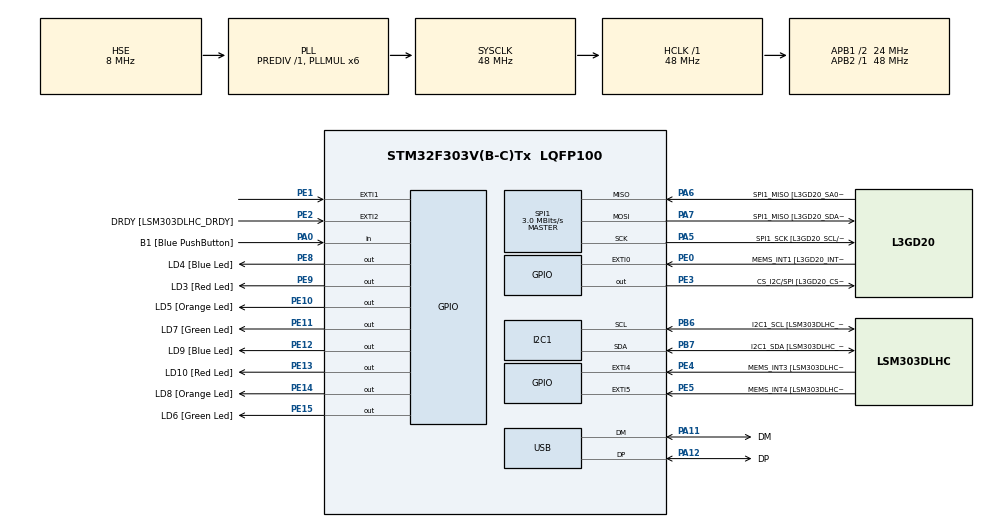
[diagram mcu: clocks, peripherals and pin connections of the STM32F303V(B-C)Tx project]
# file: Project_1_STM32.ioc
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I2C1.OwnAddress=0x20
I2C1.Timing-I2C=0x2000090E
Mcu.Family=STM32F3
Mcu.Name=STM32F303V(B-C)Tx
Mcu.Package=LQFP100
NVIC.I2C1_EV_IRQn=true\:0\:0\:false\:false\:true\:true\:true\:true
NVIC.PriorityGroup=NVIC_PRIORITYGROUP_0
NVIC.TIM1_BRK_TIM15_IRQn=true\:0\:0\:false\:false\:true\:true\:true\:true
NVIC.TIM1_CC_IRQn=true\:0\:0\:false\:false\:true\:true\:true\:true
NVIC.TIM1_TRG_COM_TIM17_IRQn=true\:0\:0\:false\:false\:true\:true\:true\:true
NVIC.TIM1_UP_TIM16_IRQn=true\:0\:0\:false\:false\:true\:true\:true\:true
PA0.GPIO_Label=B1 [Blue PushButton]
PA0.Signal=GPIO_Input
PA11.GPIO_Label=DM
PA11.Mode=Device
PA11.Signal=USB_DM
PA12.GPIO_Label=DP
PA12.Mode=Device
PA12.Signal=USB_DP
PA13.GPIO_Label=SWDIO
PA13.Mode=Serial_Wire
PA13.Signal=SYS_JTMS-SWDIO
PA14.GPIO_Label=SWCLK
PA14.Mode=Serial_Wire
PA14.Signal=SYS_JTCK-SWCLK
PA5.GPIO_Label=SPI1_SCK [L3GD20_SCL/SPC]
PA5.Mode=Full_Duplex_Master
PA5.Signal=SPI1_SCK
PA6.GPIO_Label=SPI1_MISO [L3GD20_SA0/SDO]
PA6.Mode=Full_Duplex_Master
PA6.Signal=SPI1_MISO
PA7.GPIO_Label=SPI1_MISO [L3GD20_SDA/SDI/SDO]
PA7.Mode=Full_Duplex_Master
PA7.Signal=SPI1_MOSI
PB3.GPIO_Label=SWO
PB3.Signal=SYS_JTDO-TRACESWO
PB6.GPIO_Label=I2C1_SCL [LSM303DLHC_SCL]
PB6.GPIO_Pu=GPIO_NOPULL
PB6.Mode=I2C
PB6.Signal=I2C1_SCL
PB7.GPIO_Label=I2C1_SDA [LSM303DLHC_SDA]
PB7.GPIO_Pu=GPIO_PULLUP
PB7.Mode=I2C
PB7.Signal=I2C1_SDA
PC14-OSC32_IN.GPIO_Label=OSC32_IN
PC14-OSC32_IN.Signal=RCC_OSC32_IN
PC15-OSC32_OUT.GPIO_Label=OSC32_OUT
PC15-OSC32_OUT.Signal=RCC_OSC32_OUT
PE0.GPIO_Label=MEMS_INT1 [L3GD20_INT1]
PE0.GPIO_ModeDefaultEXTI=GPIO_MODE_EVT_RISING
PE0.Signal=GPXTI0
PE1.Signal=GPXTI1
PE10.GPIO_Label=LD5 [Orange Led]
PE10.Signal=GPIO_Output
PE11.GPIO_Label=LD7 [Green Led]
PE11.Signal=GPIO_Output
PE12.GPIO_Label=LD9 [Blue Led]
PE12.Signal=GPIO_Output
PE13.GPIO_Label=LD10 [Red Led]
PE13.Signal=GPIO_Output
PE14.GPIO_Label=LD8 [Orange Led]
PE14.Signal=GPIO_Output
PE15.GPIO_Label=LD6 [Green Led]
PE15.Signal=GPIO_Output
PE2.GPIO_Label=DRDY [LSM303DLHC_DRDY]
PE2.GPIO_ModeDefaultEXTI=GPIO_MODE_EVT_RISING
PE2.Signal=GPXTI2
PE3.GPIO_Label=CS_I2C/SPI [L3GD20_CS_I2C/SPI]
PE3.Signal=GPIO_Output
PE4.GPIO_Label=MEMS_INT3 [LSM303DLHC_INT1]
PE4.GPIO_ModeDefaultEXTI=GPIO_MODE_EVT_RISING
PE4.Signal=GPXTI4
PE5.GPIO_Label=MEMS_INT4 [LSM303DLHC_INT2]
PE5.GPIO_ModeDefaultEXTI=GPIO_MODE_EVT_RISING
PE5.Signal=GPXTI5
PE8.GPIO_Label=LD4 [Blue Led]
PE8.Signal=GPIO_Output
PE9.GPIO_Label=LD3 [Red Led]
PE9.Signal=GPIO_Output
PF0-OSC_IN.GPIO_Label=OSC_IN
PF0-OSC_IN.Mode=HSE-External-Clock-Source
PF0-OSC_IN.Signal=RCC_OSC_IN
PF1-OSC_OUT.GPIO_Label=OSC_OUT
PF1-OSC_OUT.Signal=RCC_OSC_OUT
ProjectManager.HeapSize=0x200
ProjectManager.StackSize=0x400
ProjectManager.TargetToolchain=STM32CubeIDE
RCC.AHBFreq_Value=48000000
RCC.APB1CLKDivider=RCC_HCLK_DIV2
RCC.APB1Freq_Value=24000000
RCC.APB1TimFreq_Value=48000000
RCC.APB2Freq_Value=48000000
RCC.APB2TimFreq_Value=48000000
RCC.CortexFreq_Value=48000000
RCC.HCLKFreq_Value=48000000
RCC.HSE_VALUE=8000000
RCC.HSI_VALUE=8000000
RCC.LSE_VALUE=32768
RCC.PLLMUL=RCC_PLL_MUL6
RCC.SYSCLKFreq_VALUE=48000000
RCC.SYSCLKSourceVirtual=RCC_SYSCLKSOURCE_PLLCLK
RCC.USBFreq_Value=48000000
SPI1.BaudRatePrescaler=SPI_BAUDRATEPRESCALER_16
SPI1.BaudRatePrescaler-Full_Duplex_Master=SPI_BAUDRATEPRESCALER_2
SPI1.CalculateBaudRate=3.0 MBits/s
SPI1.CalculateBaudRate-Full_Duplex_Master=24.0 MBits/s
SPI1.DataSize=SPI_DATASIZE_8BIT
SPI1.Direction=SPI_DIRECTION_2LINES
SPI1.Mode=SPI_MODE_MASTER
SPI1.Mode-Full_Duplex_Master=SPI_MODE_MASTER
SPI1.VirtualType=VM_MASTER
TIM1.Period=1
TIM1.Prescaler=48000
VP_TIM1_VS_ClockSourceINT.Mode=Internal
board=STM32F3DISCOVERY

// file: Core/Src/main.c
/* USER CODE BEGIN Header */
/**
  ******************************************************************************
  * @file           : main.c
  * @brief          : Main program body
  ******************************************************************************
  * @attention
  *
  * Copyright (c) 2023 STMicroelectronics.
  * All rights reserved.
  *
  * This software is licensed under terms that can be found in the LICENSE file
  * in the root directory of this software component.
  * If no LICENSE file comes with this software, it is provided AS-IS.
  *
  ******************************************************************************
  */
/* USER CODE END Header */
#include "main.h"
#include "i2c.h"
#include "spi.h"
#include "tim.h"
#include "usb.h"
#include "gpio.h"

/* USER CODE BEGIN Includes */

/*
 * Note to self:
 *  added the lib files I created for the SPI
 *  need to add custom functions to spi.c (and spi.h)
 */

//#include "usbd_cdc_if.h"
#include "l3gd20.h"
/* USER CODE END Includes */

/* USER CODE BEGIN PTD */

/* I2C variables */
__IO uint32_t     Xfer_Direction = 0;
__IO uint32_t     Xfer_Complete = 0;
// Buffer used for transmission
uint8_t aTxBuffer[4];
// Buffer used for reception
uint8_t aRxBuffer[2];

/* Gyroscope variables */
uint8_t _newData = 0x00;
uint8_t spi_Buffer[6];
// ID of L3GD20
uint8_t ui8gyroID;
// test buffer
uint8_t testBuf[1];

/* USER CODE END PTD */

/* USER CODE BEGIN PD */

#define COUNTOF(__BUFFER__)   (sizeof(__BUFFER__) / sizeof(*(__BUFFER__)))
/* Size of Transmission buffer */
#define TXBUFFERSIZE                      (COUNTOF(aTxBuffer))
/* Size of Reception buffer */
#define RXBUFFERSIZE                      TXBUFFERSIZE

/* USER CODE END PD */

void SystemClock_Config(void);
/* USER CODE BEGIN PFP */
void set_led(uint8_t counter);
/* USER CODE END PFP */

int main(void)
{

  /* MCU Configuration--------------------------------------------------------*/

  /* Reset of all peripherals, Initializes the Flash interface and the Systick. */
  HAL_Init();

  /* USER CODE BEGIN Init */

  //The following code initialises the receive and transmit buffers being used.
  aRxBuffer[0]=0x00;
  aRxBuffer[1]=0x00;
  aRxBuffer[2]=0x00;
  aRxBuffer[3]=0x00;

  aTxBuffer[0]=0x00;
  aTxBuffer[1]=0x00;

  /* USER CODE END Init */

  /* Configure the system clock */
  SystemClock_Config();

  /* Initialize all configured peripherals */
  MX_GPIO_Init();
  MX_I2C1_Init();
  MX_SPI1_Init();
  MX_USB_PCD_Init();
  MX_TIM1_Init();
  /* USER CODE BEGIN 2 */

  // Initialise the gyro driver
  GYRO_Init();
  ui8gyroID = L3GD20_ReadID();
  GYRO_IO_Read(testBuf, L3GD20_CTRL_REG3_ADDR, sizeof(testBuf));

  /* Enable the Listen mode with Interrupts for the I2C:
   * The Listen Mode will wait for an I2C Event to occur
   * and will be treated in the Interrupt Service Routine of the I2C. */
  if(HAL_I2C_EnableListen_IT(&hi2c1) != HAL_OK)
  {
	  /* Transfer error in reception process */
	  Error_Handler();
  }
  /* USER CODE END 2 */

  /* Infinite loop */
  /* USER CODE BEGIN WHILE */
  while (1)
  {

	// check to see if new

	if(Xfer_Complete)
	{
		HAL_Delay(1);

		/* Put I2C peripheral in listen mode process */
		if(HAL_I2C_EnableListen_IT(&hi2c1) != HAL_OK)
		{
			/* Transfer error in reception process */
			Error_Handler();
		}
		Xfer_Complete = 0;
	}

    // get new data from gyro
	L3GD20_ReadXYZAngRate_Raw(spi_Buffer);
    /* USER CODE END WHILE */

  }
}

void SystemClock_Config(void)
{
  RCC_OscInitTypeDef RCC_OscInitStruct = {0};
  RCC_ClkInitTypeDef RCC_ClkInitStruct = {0};
  RCC_PeriphCLKInitTypeDef PeriphClkInit = {0};

  /** Initializes the RCC Oscillators according to the specified parameters
  * in the RCC_OscInitTypeDef structure.
  */
  RCC_OscInitStruct.OscillatorType = RCC_OSCILLATORTYPE_HSI|RCC_OSCILLATORTYPE_HSE;
  RCC_OscInitStruct.HSEState = RCC_HSE_BYPASS;
  RCC_OscInitStruct.HSEPredivValue = RCC_HSE_PREDIV_DIV1;
  RCC_OscInitStruct.HSIState = RCC_HSI_ON;
  RCC_OscInitStruct.HSICalibrationValue = RCC_HSICALIBRATION_DEFAULT;
  RCC_OscInitStruct.PLL.PLLState = RCC_PLL_ON;
  RCC_OscInitStruct.PLL.PLLSource = RCC_PLLSOURCE_HSE;
  RCC_OscInitStruct.PLL.PLLMUL = RCC_PLL_MUL6;
  if (HAL_RCC_OscConfig(&RCC_OscInitStruct) != HAL_OK)
  {
    Error_Handler();
  }

  /** Initializes the CPU, AHB and APB buses clocks
  */
  RCC_ClkInitStruct.ClockType = RCC_CLOCKTYPE_HCLK|RCC_CLOCKTYPE_SYSCLK
                              |RCC_CLOCKTYPE_PCLK1|RCC_CLOCKTYPE_PCLK2;
  RCC_ClkInitStruct.SYSCLKSource = RCC_SYSCLKSOURCE_PLLCLK;
  RCC_ClkInitStruct.AHBCLKDivider = RCC_SYSCLK_DIV1;
  RCC_ClkInitStruct.APB1CLKDivider = RCC_HCLK_DIV2;
  RCC_ClkInitStruct.APB2CLKDivider = RCC_HCLK_DIV1;

  if (HAL_RCC_ClockConfig(&RCC_ClkInitStruct, FLASH_LATENCY_1) != HAL_OK)
  {
    Error_Handler();
  }
  PeriphClkInit.PeriphClockSelection = RCC_PERIPHCLK_USB|RCC_PERIPHCLK_I2C1
                              |RCC_PERIPHCLK_TIM1;
  PeriphClkInit.I2c1ClockSelection = RCC_I2C1CLKSOURCE_HSI;
  PeriphClkInit.USBClockSelection = RCC_USBCLKSOURCE_PLL;
  PeriphClkInit.Tim1ClockSelection = RCC_TIM1CLK_HCLK;
  if (HAL_RCCEx_PeriphCLKConfig(&PeriphClkInit) != HAL_OK)
  {
    Error_Handler();
  }
}

/* USER CODE BEGIN 4 */

// callback function to reset the I2C if time-out occurred
void HAL_TIM_PeriodElapsedCallback(TIM_HandleTypeDef *htim){
	if (htim == &htim1){
		// reset timer
		HAL_TIM_Base_Stop_IT(&htim1);
		Xfer_Complete = 1;
	}
}

/**
  * @brief  Set BSP LEDs.
  * @param  uint_8: counter - which LED should be switched on.
  * @note   This is a simple helper function to turn on a single LED, it requires a number to select an LED,
  * 		starting at 0 with the LED in the 12oclock position and increasing clockwise (up to 7 for the 8th LED)
  * @retval None
  */

void set_led(uint8_t counter){
	// set all user LEDs low
	HAL_GPIO_WritePin(GPIOE, LD4_Pin|LD3_Pin|LD5_Pin|LD7_Pin
							|LD9_Pin|LD10_Pin|LD8_Pin|LD6_Pin,
							GPIO_PIN_RESET);
	  switch (counter) {
	    case 0:
	    	HAL_GPIO_WritePin(GPIOE, LD3_Pin, GPIO_PIN_SET);
	    	break;
	    case 1:
	    	HAL_GPIO_WritePin(GPIOE, LD5_Pin, GPIO_PIN_SET);
	    	break;
	    case 2:
	    	HAL_GPIO_WritePin(GPIOE, LD7_Pin, GPIO_PIN_SET);
	    	break;
	    case 3:
	    	HAL_GPIO_WritePin(GPIOE, LD9_Pin, GPIO_PIN_SET);
	    	break;
	    case 4:
	    	HAL_GPIO_WritePin(GPIOE, LD10_Pin, GPIO_PIN_SET);
	    	break;
	    case 5:
	    	HAL_GPIO_WritePin(GPIOE, LD8_Pin, GPIO_PIN_SET);
	    	break;
	    case 6:
	    	HAL_GPIO_WritePin(GPIOE, LD6_Pin, GPIO_PIN_SET);
	    	break;
	    case 7:
	    	HAL_GPIO_WritePin(GPIOE, LD4_Pin, GPIO_PIN_SET);
	    	break;
	    default:
//	    	HAL_GPIO_WritePin(GPIOE, LD3_Pin, GPIO_PIN_SET); // set the first led
			break;
	  }

}

/**
  * @brief  Tx Transfer completed callback.
  * @param  I2cHandle: I2C handle.
  * @note   This example shows a simple way to report end of IT Tx transfer, and
  *         you can add your own implementation.
  * @retval None
  */

void HAL_I2C_SlaveTxCpltCallback(I2C_HandleTypeDef *I2cHandle)
{
	HAL_TIM_Base_Stop_IT(&htim1); // stop time-out counter

	Xfer_Complete = 1;
}

/**
  * @brief  Rx Transfer completed callback.
  * @param  I2cHandle: I2C handle
  * @note   This example shows a simple way to report end of IT Rx transfer, and
  *         you can add your own implementation.
  * @retval None
  */
void HAL_I2C_SlaveRxCpltCallback(I2C_HandleTypeDef *I2cHandle)
{

	HAL_TIM_Base_Stop_IT(&htim1); // stop timeout counter
//  aRxBuffer[0]; // dummy byte - no idea, something wrong in smbus2 lib on python side
//  aRxBuffer[1]; // command - set_LED = 0x01
//  aRxBuffer[2]; // value of LED

	switch (aRxBuffer[1]){
	case 0x01:
		set_led(aRxBuffer[2]);
		break;
	case 0x02:
		// set tx buffer to Xval
		  aTxBuffer[0]=spi_Buffer[0];
		  aTxBuffer[1]=spi_Buffer[1];
		  break;
	case 0x03:
		// get Yval
		  aTxBuffer[0]=spi_Buffer[2];
		  aTxBuffer[1]=spi_Buffer[3];
		  break;
	default:
		// do nothing
		break;
	}
	Xfer_Complete = 1;
}

/**
  * @brief  Slave Address Match callback.
  * @param  hi2c Pointer to a I2C_HandleTypeDef structure that contains
  *                the configuration information for the specified I2C.
  * @param  TransferDirection: Master request Transfer Direction (Write/Read), value of @ref I2C_XferOptions_definition
  * @param  AddrMatchCode: Address Match Code
  * @retval None
  */
void HAL_I2C_AddrCallback(I2C_HandleTypeDef *hi2c, uint8_t TransferDirection, uint16_t AddrMatchCode)
{
	Xfer_Direction = TransferDirection;
	HAL_TIM_Base_Start_IT(&htim1); // start timeout timer
	if (Xfer_Direction != 0)
	{
		/* Start the transmission process */
		/* While the I2C in reception process, user can transmit data through "aTxBuffer" buffer */
		if (HAL_I2C_Slave_Seq_Transmit_IT(&hi2c1, (uint8_t *)aTxBuffer, TXBUFFERSIZE, I2C_FIRST_AND_LAST_FRAME) != HAL_OK)
		{
			/* Transfer error in transmission process */
			Error_Handler();
		}
	}
	else
	{
		/* Put I2C peripheral in reception process */
		if (HAL_I2C_Slave_Seq_Receive_IT(&hi2c1, (uint8_t *)aRxBuffer, RXBUFFERSIZE, I2C_FIRST_AND_LAST_FRAME) != HAL_OK)
		{
			/* Transfer error in reception process */
			Error_Handler();
		}
	}

}

/**
  * @brief  Listen Complete callback.
  * @param  hi2c Pointer to a I2C_HandleTypeDef structure that contains
  *                the configuration information for the specified I2C.
  * @retval None
  */
void HAL_I2C_ListenCpltCallback(I2C_HandleTypeDef *hi2c)
{
}

/**
  * @brief  I2C error callbacks.
  * @param  I2cHandle: I2C handle
  * @note   This example shows a simple way to report transfer error, and you can
  *         add your own implementation.
  * @retval None
  */
void HAL_I2C_ErrorCallback(I2C_HandleTypeDef *I2cHandle)
{
  /** Error_Handler() function is called when error occurs.
    * 1- When Slave doesn't acknowledge its address, Master restarts communication.
    * 2- When Master doesn't acknowledge the last data transferred, Slave doesn't care in this example.
    */
  if (HAL_I2C_GetError(I2cHandle) != HAL_I2C_ERROR_AF)
  {
    Error_Handler();
  }
}
/* USER CODE END 4 */

void Error_Handler(void)
{
  __disable_irq();
  while (1)
  {
  }
}
